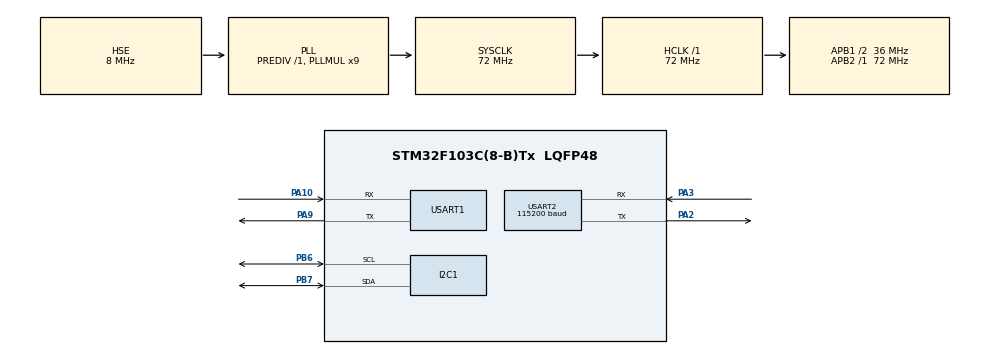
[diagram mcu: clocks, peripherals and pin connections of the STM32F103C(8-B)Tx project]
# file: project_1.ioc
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FREERTOS.Tasks01=task_aht20,32,128,StartDefaultTask,Default,NULL,Dynamic,NULL,NULL;task_bh1750,24,128,StartTask02,Default,NULL,Dynamic,NULL,NULL;task_esp01s,16,128,StartTask03,Default,NULL,Dynamic,NULL,NULL
Mcu.Family=STM32F1
Mcu.Name=STM32F103C(8-B)Tx
Mcu.Package=LQFP48
NVIC.PriorityGroup=NVIC_PRIORITYGROUP_4
NVIC.TIM4_IRQn=true\:15\:0\:false\:false\:true\:false\:false\:true
NVIC.TimeBase=TIM4_IRQn
NVIC.TimeBaseIP=TIM4
NVIC.USART2_IRQn=true\:5\:0\:false\:false\:true\:true\:true\:true
PA10.Mode=Asynchronous
PA10.Signal=USART1_RX
PA13.Mode=Serial_Wire
PA13.Signal=SYS_JTMS-SWDIO
PA14.Mode=Serial_Wire
PA14.Signal=SYS_JTCK-SWCLK
PA2.Mode=Asynchronous
PA2.Signal=USART2_TX
PA3.Mode=Asynchronous
PA3.Signal=USART2_RX
PA9.Mode=Asynchronous
PA9.Signal=USART1_TX
PB6.Mode=I2C
PB6.Signal=I2C1_SCL
PB7.Mode=I2C
PB7.Signal=I2C1_SDA
PD0-OSC_IN.Mode=HSE-External-Oscillator
PD0-OSC_IN.Signal=RCC_OSC_IN
PD1-OSC_OUT.Mode=HSE-External-Oscillator
PD1-OSC_OUT.Signal=RCC_OSC_OUT
ProjectManager.HeapSize=0x200
ProjectManager.StackSize=0x400
ProjectManager.TargetToolchain=STM32CubeIDE
RCC.AHBFreq_Value=72000000
RCC.APB1CLKDivider=RCC_HCLK_DIV2
RCC.APB1Freq_Value=36000000
RCC.APB1TimFreq_Value=72000000
RCC.APB2Freq_Value=72000000
RCC.APB2TimFreq_Value=72000000
RCC.HCLKFreq_Value=72000000
RCC.PLLMUL=RCC_PLL_MUL9
RCC.PLLSourceVirtual=RCC_PLLSOURCE_HSE
RCC.SYSCLKFreq_VALUE=72000000
RCC.SYSCLKSource=RCC_SYSCLKSOURCE_PLLCLK
RCC.USBFreq_Value=72000000
USART1.VirtualMode=VM_ASYNC
USART2.BaudRate=115200
USART2.VirtualMode=VM_ASYNC
VP_FREERTOS_VS_CMSIS_V2.Mode=CMSIS_V2
VP_SYS_VS_tim4.Mode=TIM4
board=custom

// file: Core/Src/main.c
/* USER CODE BEGIN Header */
/**
  ******************************************************************************
  * @file           : main.c
  * @brief          : Main program body
  ******************************************************************************
  * @attention
  *
  * Copyright (c) 2025 STMicroelectronics.
  * All rights reserved.
  *
  * This software is licensed under terms that can be found in the LICENSE file
  * in the root directory of this software component.
  * If no LICENSE file comes with this software, it is provided AS-IS.
  *
  ******************************************************************************
  */
/* USER CODE END Header */
#include "main.h"
#include "cmsis_os.h"
#include "i2c.h"
#include "usart.h"
#include "gpio.h"

/* USER CODE BEGIN Includes */
#include "aht20.h"
#include "esp01s.h"
//#include "onenet.h"
//#include "MQTT.h"

#include <stdio.h>
#include <string.h>

/* USER CODE END Includes */

void SystemClock_Config(void);
void MX_FREERTOS_Init(void);

int main(void)
{

  /* MCU Configuration--------------------------------------------------------*/

  /* Reset of all peripherals, Initializes the Flash interface and the Systick. */
  HAL_Init();

  /* Configure the system clock */
  SystemClock_Config();

  /* Initialize all configured peripherals */
  MX_GPIO_Init();
  MX_I2C1_Init();
  MX_USART1_UART_Init();
  MX_USART2_UART_Init();
  /* USER CODE BEGIN 2 */
 //这里暂时不用
  /*
  float Temperature, Humidity;

  char mqtt_message[512];

  char mqtt_temp_message[512]; //json数据缓存
  char mqtt_humi_message[512];

  char mqtt_receive[512];

  //
  HAL_UART_Transmit(&huart2, (uint8_t*)"USART2 Test\r\n", 12, HAL_MAX_DELAY);
  AHT20_Init();  //AHT20初始
  MY_ESP01S_Init();  //ESP初始

  HAL_UART_Receive_IT(&huart2, (uint8_t *)&mqtt_receive, 1); //串口2接收中断初始�????

*/

  /* USER CODE END 2 */

  /* Init scheduler */
  osKernelInitialize();  /* Call init function for freertos objects (in freertos.c) */
  MX_FREERTOS_Init();
  /* Start scheduler */
  osKernelStart();

  /* We should never get here as control is now taken by the scheduler */
  /* Infinite loop */
  /* USER CODE BEGIN WHILE */
  while (1)
  {  /*
	    // 1. 读取温湿度数
	    AHT20_Read(&Temperature, &Humidity);
	    //sprintf(message,"temperature: %.1f °C, humidity: %.1f %%\r\n",temperature, humidity);
	    //STM32作为主机向AHT20

	    sprintf(mqtt_message,
	        "AT+MQTTPUB=0,\"$sys/4z54XBmy4z/mytest/thing/property/post\","
	        "\"{\\\"id\\\":\\\"123\\\"\\\"params\\\":{"
	        "\\\"CurrentTemperature\\\":{\\\"value\\\":%.2f},"
	        "\\\"CurrentHumidity\\\":{\\\"value\\\":%.2f}"
	        "}}\",0,0\r\n",
	        Temperature, Humidity);

	    HAL_UART_Transmit(&huart2, (uint8_t*)mqtt_message, strlen(mqtt_message), HAL_MAX_DELAY);

	    HAL_Delay(3000);

	    */

	    /*
        //单一数据发�??
	    sprintf(mqtt_temp_message,
	    	            "AT+MQTTPUB=0,\"$sys/4z54XBmy4z/mytest/thing/property/post\","
	    	            "\"{\\\"id\\\":\\\"123\\\"\\,\\\"params\\\":{\\\"CurrentTemperature\\\":{\\\"value\\\":%.2f}}}\",0,0\r\n",Temperature);

	    sprintf(mqtt_humi_message,
	    	    	     "AT+MQTTPUB=0,\"$sys/4z54XBmy4z/mytest/thing/property/post\","
	    	    	     "\"{\\\"id\\\":\\\"123\\\"\\,\\\"params\\\":{\\\"CurrentHumidity\\\":{\\\"value\\\":%.2f}}}\",0,0\r\n",Humidity);
	    //2.构建MQTT发布消息（JSON格式�????
	    HAL_UART_Transmit(&huart2, (uint8_t*)mqtt_temp_message, strlen(mqtt_temp_message), HAL_MAX_DELAY);
	    HAL_Delay(3000);
	    HAL_UART_Transmit(&huart2, (uint8_t*)mqtt_humi_message, strlen(mqtt_humi_message), HAL_MAX_DELAY);

        HAL_Delay(3000);
        */

	    //HAL_Delay(1000);

    /* USER CODE END WHILE */

  }
}

void SystemClock_Config(void)
{
  RCC_OscInitTypeDef RCC_OscInitStruct = {0};
  RCC_ClkInitTypeDef RCC_ClkInitStruct = {0};

  /** Initializes the RCC Oscillators according to the specified parameters
  * in the RCC_OscInitTypeDef structure.
  */
  RCC_OscInitStruct.OscillatorType = RCC_OSCILLATORTYPE_HSE;
  RCC_OscInitStruct.HSEState = RCC_HSE_ON;
  RCC_OscInitStruct.HSEPredivValue = RCC_HSE_PREDIV_DIV1;
  RCC_OscInitStruct.HSIState = RCC_HSI_ON;
  RCC_OscInitStruct.PLL.PLLState = RCC_PLL_ON;
  RCC_OscInitStruct.PLL.PLLSource = RCC_PLLSOURCE_HSE;
  RCC_OscInitStruct.PLL.PLLMUL = RCC_PLL_MUL9;
  if (HAL_RCC_OscConfig(&RCC_OscInitStruct) != HAL_OK)
  {
    Error_Handler();
  }
  /** Initializes the CPU, AHB and APB buses clocks
  */
  RCC_ClkInitStruct.ClockType = RCC_CLOCKTYPE_HCLK|RCC_CLOCKTYPE_SYSCLK
                              |RCC_CLOCKTYPE_PCLK1|RCC_CLOCKTYPE_PCLK2;
  RCC_ClkInitStruct.SYSCLKSource = RCC_SYSCLKSOURCE_PLLCLK;
  RCC_ClkInitStruct.AHBCLKDivider = RCC_SYSCLK_DIV1;
  RCC_ClkInitStruct.APB1CLKDivider = RCC_HCLK_DIV2;
  RCC_ClkInitStruct.APB2CLKDivider = RCC_HCLK_DIV1;

  if (HAL_RCC_ClockConfig(&RCC_ClkInitStruct, FLASH_LATENCY_2) != HAL_OK)
  {
    Error_Handler();
  }
}

void HAL_TIM_PeriodElapsedCallback(TIM_HandleTypeDef *htim)
{
  if (htim->Instance == TIM4) {
    HAL_IncTick();
  }
}

void Error_Handler(void)
{
  __disable_irq();
  while (1)
  {
  }
}

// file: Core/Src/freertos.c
/* USER CODE BEGIN Header */
/**
  ******************************************************************************
  * File Name          : freertos.c
  * Description        : Code for freertos applications
  ******************************************************************************
  * @attention
  *
  * Copyright (c) 2025 STMicroelectronics.
  * All rights reserved.
  *
  * This software is licensed under terms that can be found in the LICENSE file
  * in the root directory of this software component.
  * If no LICENSE file comes with this software, it is provided AS-IS.
  *
  ******************************************************************************
  */
/* USER CODE END Header */

#include "FreeRTOS.h"
#include "task.h"
#include "main.h"
#include "cmsis_os.h"

/* USER CODE BEGIN Includes */
#include "queue.h"

#include "aht20.h"
#include "BH1750.h"

#include "usart.h"
#include <string.h>
#include "i2c.h"
/* USER CODE END Includes */

/* USER CODE BEGIN PTD */
typedef struct {
	float Temp;
	float Humidity;
	float light;
} Sensor_data;

/* USER CODE END PTD */

/* USER CODE BEGIN Variables */
  QueueHandle_t sensorDataQueue;  //添加的队列句

/* USER CODE END Variables */
/* Definitions for task_aht20 */
osThreadId_t task_aht20Handle;
const osThreadAttr_t task_aht20_attributes = {
  .name = "task_aht20",
  .stack_size = 128 * 4,
  .priority = (osPriority_t) osPriorityAboveNormal,
};
/* Definitions for task_bh1750 */
osThreadId_t task_bh1750Handle;
const osThreadAttr_t task_bh1750_attributes = {
  .name = "task_bh1750",
  .stack_size = 128 * 4,
  .priority = (osPriority_t) osPriorityNormal,
};
/* Definitions for task_esp01s */
osThreadId_t task_esp01sHandle;
const osThreadAttr_t task_esp01s_attributes = {
  .name = "task_esp01s",
  .stack_size = 128 * 4,
  .priority = (osPriority_t) osPriorityBelowNormal,
};

void StartDefaultTask(void *argument);
void StartTask02(void *argument);
void StartTask03(void *argument);

void MX_FREERTOS_Init(void); /* (MISRA C 2004 rule 8.1) */

void MX_FREERTOS_Init(void) {

  /* USER CODE BEGIN RTOS_QUEUES */
	sensorDataQueue = xQueueCreate(1, sizeof(Sensor_data));
	if (sensorDataQueue != NULL)   //这个判断相当于检查这个缓冲区是否申请成功，如果成功才能往里存数据�????
	{
		HAL_UART_Transmit(&huart1, (uint8_t *)"Queue created successfully!\r\n",
		strlen("Queue created successfully!\r\n"), HAL_MAX_DELAY);
	    // 队列创建失败处理
	    //Error_Handler();
	}
	else
	{
		HAL_UART_Transmit(&huart1, (uint8_t *)"Queue created Error!\r\n",
		strlen("Queue created Error!\r\n"), HAL_MAX_DELAY);
	}
  /* USER CODE END RTOS_QUEUES */

  /* Create the thread(s) */
  /* creation of task_aht20 */
  task_aht20Handle = osThreadNew(StartDefaultTask, NULL, &task_aht20_attributes);

  /* creation of task_bh1750 */
  task_bh1750Handle = osThreadNew(StartTask02, NULL, &task_bh1750_attributes);

  /* creation of task_esp01s */
  task_esp01sHandle = osThreadNew(StartTask03, NULL, &task_esp01s_attributes);

}

void StartDefaultTask(void *argument)
{
  /* USER CODE BEGIN StartDefaultTask */
  /* Infinite loop */
  AHT20_Init();

  float Temp,Humi;
  Sensor_data sensorData; // 定义结构体变

  TickType_t lastWakeTime = xTaskGetTickCount();
  for(;;)
  {

    AHT20_Read(&Temp,&Humi);

    sensorData.Temp = Temp;
    sensorData.Humidity = Humi;
    sensorData.light = 0; // 光照数据由另

    //sprintf(message,"Tempeturate:%.2f,Humidity:%.2f %%\r\n",Temp,Humi);
    xQueueOverwrite(sensorDataQueue, &sensorData);
    //key = xQueueSend(sensorDataQueue , &sensorData, portMAX_DELAY); //队列写入数据
    //if(key != pdPASS)

    osDelayUntil(lastWakeTime + 1000);  // 精确1秒周
    lastWakeTime = xTaskGetTickCount();
    //osDelay(1000);
  }
  /* USER CODE END StartDefaultTask */
}

void StartTask02(void *argument)
{
  /* USER CODE BEGIN StartTask02 */
  /* Infinite loop */
  BH1750_Init();

  for(;;)
  {
	//char message1[50];
	uint8_t DataBuff[2];//存储数组
	float LightData;//光照强度

	Sensor_data sensorData;

	if(xQueuePeek(sensorDataQueue, &sensorData, pdMS_TO_TICKS(100)) == pdPASS) {
	      BH1750_ReadData(DataBuff, 2);
	      LightData=((DataBuff[0]<<8)+DataBuff[1])/1.2f;//数据转换成光强度，单位lx
	      sensorData.light = LightData;
	      xQueueOverwrite(sensorDataQueue, &sensorData);  // 原子化更�?
	    }

	// 格式化字符串
	//sprintf(message1, "Light: %d lux\r\n", LightData_Hex);
	//HAL_UART_Transmit(&huart1, (uint8_t*)message1, strlen(message1), HAL_MAX_DELAY);

    osDelay(10);
  }
  /* USER CODE END StartTask02 */
}

void StartTask03(void *argument)
{
  /* USER CODE BEGIN StartTask03 */
  /* Infinite loop */
	Sensor_data receivedData;
	char message[100];

  for(;;)
  {
	  // 从队列接收完整数据包
	  if(xQueueReceive(sensorDataQueue, &receivedData, pdMS_TO_TICKS(1000)) == pdPASS)
	  {
	  // 格式化所有传感器数据
	  sprintf(message, "Temp:%.2fC, Humi:%.2f%%, Light:%.2flux\r\n",
	          receivedData.Temp, receivedData.Humidity, receivedData.light);

	  // 通过串口发到ESP模块
	  HAL_UART_Transmit(&huart1, (uint8_t*)message, strlen(message), 100);
	  }
	  osDelay(100);
  }
  /* USER CODE END StartTask03 */
}
